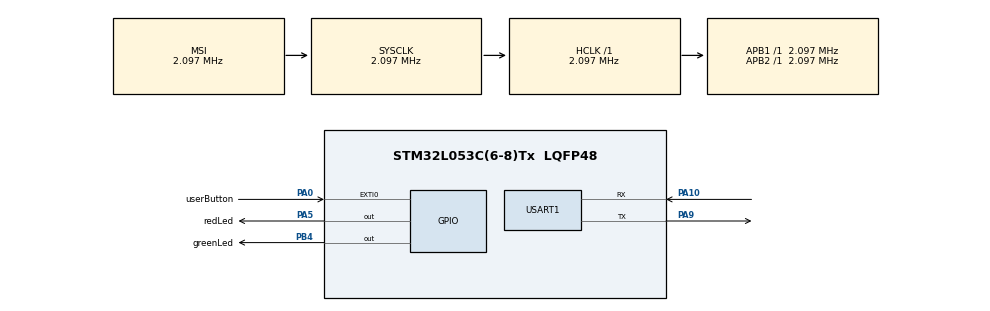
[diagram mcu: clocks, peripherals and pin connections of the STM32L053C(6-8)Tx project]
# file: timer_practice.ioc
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Dma.Request0=USART1_RX
Dma.USART1_RX.0.Direction=DMA_PERIPH_TO_MEMORY
Dma.USART1_RX.0.Instance=DMA1_Channel3
Dma.USART1_RX.0.MemDataAlignment=DMA_MDATAALIGN_BYTE
Dma.USART1_RX.0.MemInc=DMA_MINC_ENABLE
Dma.USART1_RX.0.Mode=DMA_NORMAL
Dma.USART1_RX.0.PeriphDataAlignment=DMA_PDATAALIGN_BYTE
Dma.USART1_RX.0.PeriphInc=DMA_PINC_DISABLE
Dma.USART1_RX.0.Priority=DMA_PRIORITY_HIGH
Mcu.Family=STM32L0
Mcu.Name=STM32L053C(6-8)Tx
Mcu.Package=LQFP48
NVIC.DMA1_Channel2_3_IRQn=true\:0\:0\:false\:false\:true
NVIC.EXTI0_1_IRQn=true\:0\:0\:false\:false\:true
NVIC.TIM21_IRQn=true\:0\:0\:false\:false\:true
NVIC.TIM2_IRQn=true\:0\:0\:false\:false\:true
NVIC.USART1_IRQn=true\:0\:0\:false\:false\:true
PA0.GPIO_Label=userButton
PA0.Signal=GPXTI0
PA10.Mode=Asynchronous
PA10.Signal=USART1_RX
PA5.GPIO_Label=redLed
PA5.Signal=GPIO_Output
PA9.Mode=Asynchronous
PA9.Signal=USART1_TX
PB4.GPIO_Label=greenLed
PB4.Signal=GPIO_Output
ProjectManager.HeapSize=0x200
ProjectManager.StackSize=0x400
ProjectManager.TargetToolchain=MDK-ARM V5
RCC.AHBFreq_Value=2097000
RCC.APB1Freq_Value=2097000
RCC.APB1TimFreq_Value=2097000
RCC.APB2Freq_Value=2097000
RCC.APB2TimFreq_Value=2097000
RCC.HSE_VALUE=8000000
RCC.HSI16_VALUE=16000000
RCC.HSI48_VALUE=48000000
RCC.HSI_VALUE=16000000
RCC.LSE_VALUE=32768
RCC.MSI_VALUE=2097000
RCC.SYSCLKFreq_VALUE=2097000
RCC.VCOOutputFreq_Value=48000000
TIM2.Period=499
TIM2.Prescaler=15999
TIM2.TIM_MasterOutputTrigger=TIM_TRGO_UPDATE
TIM21.Period=10
TIM21.Prescaler=16000
TIM21.TIM_MasterOutputTrigger=TIM_TRGO_UPDATE
USART1.VirtualMode-Asynchronous=VM_ASYNC
USART1.WordLength=WORDLENGTH_8B
VP_TIM21_VS_ClockSourceINT.Mode=Internal
VP_TIM2_VS_ClockSourceINT.Mode=Internal
board=timer_practice

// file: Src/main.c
/**
  ******************************************************************************
  * File Name          : main.c
  * Description        : Main program body
  ******************************************************************************
  ** This notice applies to any and all portions of this file
  * that are not between comment pairs USER CODE BEGIN and
  * USER CODE END. Other portions of this file, whether
  * inserted by the user or by software development tools
  * are owned by their respective copyright owners.
  *
  * COPYRIGHT(c) 2018 STMicroelectronics
  *
  * Redistribution and use in source and binary forms, with or without modification,
  * are permitted provided that the following conditions are met:
  *   1. Redistributions of source code must retain the above copyright notice,
  *      this list of conditions and the following disclaimer.
  *   2. Redistributions in binary form must reproduce the above copyright notice,
  *      this list of conditions and the following disclaimer in the documentation
  *      and/or other materials provided with the distribution.
  *   3. Neither the name of STMicroelectronics nor the names of its contributors
  *      may be used to endorse or promote products derived from this software
  *      without specific prior written permission.
  *
  * THIS SOFTWARE IS PROVIDED BY THE COPYRIGHT HOLDERS AND CONTRIBUTORS "AS IS"
  * AND ANY EXPRESS OR IMPLIED WARRANTIES, INCLUDING, BUT NOT LIMITED TO, THE
  * IMPLIED WARRANTIES OF MERCHANTABILITY AND FITNESS FOR A PARTICULAR PURPOSE ARE
  * DISCLAIMED. IN NO EVENT SHALL THE COPYRIGHT HOLDER OR CONTRIBUTORS BE LIABLE
  * FOR ANY DIRECT, INDIRECT, INCIDENTAL, SPECIAL, EXEMPLARY, OR CONSEQUENTIAL
  * DAMAGES (INCLUDING, BUT NOT LIMITED TO, PROCUREMENT OF SUBSTITUTE GOODS OR
  * SERVICES; LOSS OF USE, DATA, OR PROFITS; OR BUSINESS INTERRUPTION) HOWEVER
  * CAUSED AND ON ANY THEORY OF LIABILITY, WHETHER IN CONTRACT, STRICT LIABILITY,
  * OR TORT (INCLUDING NEGLIGENCE OR OTHERWISE) ARISING IN ANY WAY OUT OF THE USE
  * OF THIS SOFTWARE, EVEN IF ADVISED OF THE POSSIBILITY OF SUCH DAMAGE.
  *
  ******************************************************************************
  */
#include "main.h"
#include "stm32l0xx_hal.h"
#include "dma.h"
#include "tim.h"
#include "usart.h"
#include "gpio.h"

/* USER CODE BEGIN PV */
/* Private variables ---------------------------------------------------------*/

/* USER CODE END PV */

void SystemClock_Config(void);

/* USER CODE BEGIN PFP */
/* Private function prototypes -----------------------------------------------*/

/* USER CODE END PFP */

/* USER CODE BEGIN 0 */
void timerInterrupt(void){
	elapsedTime++;

}

void blinkInterrupt(void){
	toggleRed();
}

void buttonInterrupt(void){
	toggleTimer = !toggleTimer;

	if(toggleTimer){
		elapsedTime = 0;
		HAL_TIM_Base_Start_IT(&htim2);
	} else {
		HAL_TIM_Base_Stop_IT(&htim2);
		HAL_TIM_Base_Stop_IT(&htim21);
		blinkPeriod = elapsedTime;
		MX_TIM21_Init();
		__HAL_TIM_SET_AUTORELOAD(&htim21, blinkPeriod);
		HAL_TIM_Base_Start_IT(&htim21);
	}

}

/* USER CODE END 0 */

int main(void)
{

  /* USER CODE BEGIN 1 */
	toggleTimer = FALSE;
	elapsedTime = 0;
	blinkPeriod = 10;
  /* USER CODE END 1 */

  /* MCU Configuration----------------------------------------------------------*/

  /* Reset of all peripherals, Initializes the Flash interface and the Systick. */
  HAL_Init();

  /* Configure the system clock */
  SystemClock_Config();

  /* Initialize all configured peripherals */
  MX_GPIO_Init();
  MX_DMA_Init();
  MX_TIM2_Init();
  MX_USART1_UART_Init();
  MX_TIM21_Init();

  /* USER CODE BEGIN 2 */
	HAL_TIM_Base_Start_IT(&htim21);
  /* USER CODE END 2 */

  /* Infinite loop */
  while (1)
  {

  }

}

/** System Clock Configuration
*/
void SystemClock_Config(void)
{

  RCC_OscInitTypeDef RCC_OscInitStruct;
  RCC_ClkInitTypeDef RCC_ClkInitStruct;
  RCC_PeriphCLKInitTypeDef PeriphClkInit;

    /**Configure the main internal regulator output voltage
    */
  __HAL_PWR_VOLTAGESCALING_CONFIG(PWR_REGULATOR_VOLTAGE_SCALE1);

    /**Initializes the CPU, AHB and APB busses clocks
    */
  RCC_OscInitStruct.OscillatorType = RCC_OSCILLATORTYPE_MSI;
  RCC_OscInitStruct.MSIState = RCC_MSI_ON;
  RCC_OscInitStruct.MSICalibrationValue = 0;
  RCC_OscInitStruct.MSIClockRange = RCC_MSIRANGE_5;
  RCC_OscInitStruct.PLL.PLLState = RCC_PLL_NONE;
  if (HAL_RCC_OscConfig(&RCC_OscInitStruct) != HAL_OK)
  {
    _Error_Handler(__FILE__, __LINE__);
  }

    /**Initializes the CPU, AHB and APB busses clocks
    */
  RCC_ClkInitStruct.ClockType = RCC_CLOCKTYPE_HCLK|RCC_CLOCKTYPE_SYSCLK
                              |RCC_CLOCKTYPE_PCLK1|RCC_CLOCKTYPE_PCLK2;
  RCC_ClkInitStruct.SYSCLKSource = RCC_SYSCLKSOURCE_MSI;
  RCC_ClkInitStruct.AHBCLKDivider = RCC_SYSCLK_DIV1;
  RCC_ClkInitStruct.APB1CLKDivider = RCC_HCLK_DIV1;
  RCC_ClkInitStruct.APB2CLKDivider = RCC_HCLK_DIV1;

  if (HAL_RCC_ClockConfig(&RCC_ClkInitStruct, FLASH_LATENCY_0) != HAL_OK)
  {
    _Error_Handler(__FILE__, __LINE__);
  }

  PeriphClkInit.PeriphClockSelection = RCC_PERIPHCLK_USART1;
  PeriphClkInit.Usart1ClockSelection = RCC_USART1CLKSOURCE_PCLK2;
  if (HAL_RCCEx_PeriphCLKConfig(&PeriphClkInit) != HAL_OK)
  {
    _Error_Handler(__FILE__, __LINE__);
  }

    /**Configure the Systick interrupt time
    */
  HAL_SYSTICK_Config(HAL_RCC_GetHCLKFreq()/1000);

    /**Configure the Systick
    */
  HAL_SYSTICK_CLKSourceConfig(SYSTICK_CLKSOURCE_HCLK);

  /* SysTick_IRQn interrupt configuration */
  HAL_NVIC_SetPriority(SysTick_IRQn, 0, 0);
}

void _Error_Handler(char * file, int line)
{
  while(1)
  {
  }
}

/************************ (C) COPYRIGHT STMicroelectronics *****END OF FILE****/
